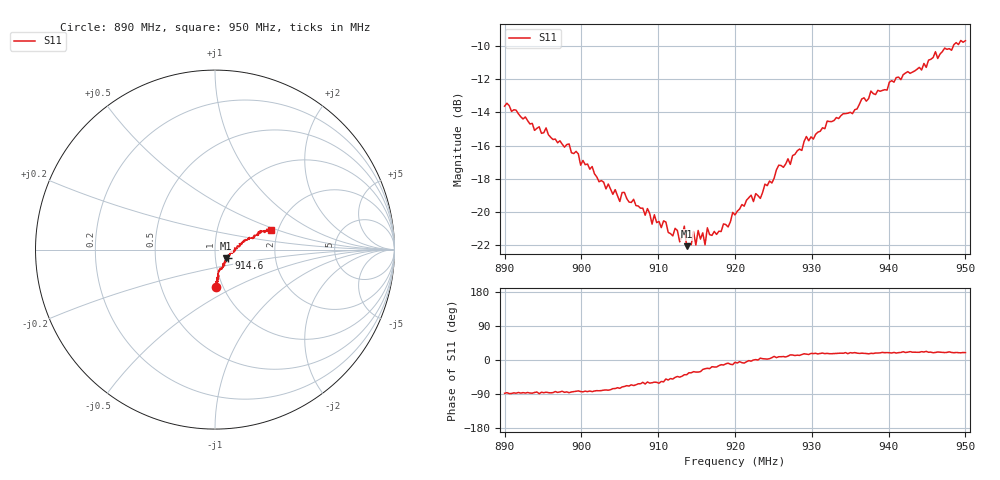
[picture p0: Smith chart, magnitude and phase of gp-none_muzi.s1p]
! Touchstone file generated by AntScope2
# MHz S RI R 50
! Format: Frequency S-real S-imaginary (normalized to 50 Ohm)
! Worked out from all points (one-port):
!   201 points, 890 MHz to 950 MHz, reference 50 ohm
!   lowest |S11| = -22.1 dB at 913.7 MHz (marker M1), VSWR 1.17, Z = 56.2 - j5.59 ohm
!   |S11| at or under -10 dB: start of sweep to 948.4 MHz
!   S11 on the Smith chart (normalised r, x): 890 MHz: 0.93, -0.41; 914.6 MHz: 1.16, -0.10; 950 MHz: 1.83, +0.45
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890  0.00769 -0.2084
897.5  0.0206 -0.1587
905  0.0282 -0.1036
905.6  0.0392 -0.1074
908.6  0.0543 -0.0866
909.2  0.0458 -0.0794
909.5  0.0512 -0.0834
911.9  0.054 -0.065
912.2  0.062 -0.064
912.8  0.057 -0.0577
913.4  0.0705 -0.0567
913.7  0.0612 -0.0495
914.3  0.066 -0.0442
914.6  0.0748 -0.0446
914.9  0.0674 -0.0418
915.2  0.0745 -0.0464
916.1  0.0731 -0.031
916.4  0.0829 -0.0334
917.6  0.0809 -0.0271
920  0.0972 -0.0102
922.1  0.112 -0.00603
923.3  0.1093 0.00925
925.7  0.1367 0.0207
927.5  0.1439 0.0338
929.3  0.1627 0.0449
935  0.1884 0.0664
942.8  0.2428 0.0986
950  0.3099 0.11
